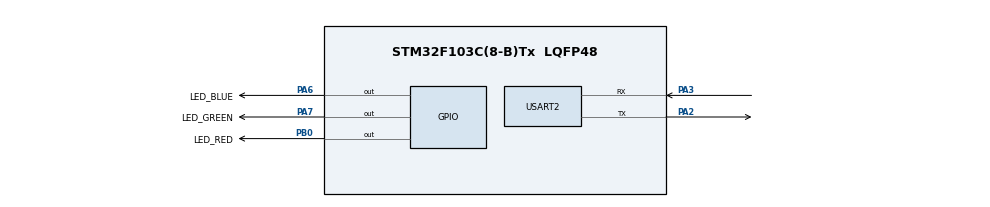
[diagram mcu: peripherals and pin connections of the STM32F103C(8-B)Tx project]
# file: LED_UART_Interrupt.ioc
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Dma.Request0=USART2_TX
Dma.Request1=USART2_RX
Dma.USART2_RX.1.Direction=DMA_PERIPH_TO_MEMORY
Dma.USART2_RX.1.Instance=DMA1_Channel6
Dma.USART2_RX.1.MemDataAlignment=DMA_MDATAALIGN_BYTE
Dma.USART2_RX.1.MemInc=DMA_MINC_ENABLE
Dma.USART2_RX.1.Mode=DMA_NORMAL
Dma.USART2_RX.1.PeriphDataAlignment=DMA_PDATAALIGN_BYTE
Dma.USART2_RX.1.PeriphInc=DMA_PINC_DISABLE
Dma.USART2_RX.1.Priority=DMA_PRIORITY_LOW
Dma.USART2_TX.0.Direction=DMA_MEMORY_TO_PERIPH
Dma.USART2_TX.0.Instance=DMA1_Channel7
Dma.USART2_TX.0.MemDataAlignment=DMA_MDATAALIGN_BYTE
Dma.USART2_TX.0.MemInc=DMA_MINC_ENABLE
Dma.USART2_TX.0.Mode=DMA_NORMAL
Dma.USART2_TX.0.PeriphDataAlignment=DMA_PDATAALIGN_BYTE
Dma.USART2_TX.0.PeriphInc=DMA_PINC_DISABLE
Dma.USART2_TX.0.Priority=DMA_PRIORITY_LOW
Mcu.Family=STM32F1
Mcu.Name=STM32F103C(8-B)Tx
Mcu.Package=LQFP48
NVIC.DMA1_Channel6_IRQn=true\:0\:0\:false\:false\:true\:false\:true\:true
NVIC.DMA1_Channel7_IRQn=true\:0\:0\:false\:false\:true\:false\:true\:true
NVIC.PriorityGroup=NVIC_PRIORITYGROUP_4
NVIC.USART2_IRQn=true\:0\:0\:false\:false\:true\:true\:true\:true
PA13.Mode=Serial_Wire
PA13.Signal=SYS_JTMS-SWDIO
PA14.Mode=Serial_Wire
PA14.Signal=SYS_JTCK-SWCLK
PA2.Mode=Asynchronous
PA2.Signal=USART2_TX
PA3.Mode=Asynchronous
PA3.Signal=USART2_RX
PA6.GPIO_Label=LED_BLUE
PA6.Signal=GPIO_Output
PA7.GPIO_Label=LED_GREEN
PA7.Signal=GPIO_Output
PB0.GPIO_Label=LED_RED
PB0.Signal=GPIO_Output
ProjectManager.HeapSize=0x200
ProjectManager.StackSize=0x400
ProjectManager.TargetToolchain=STM32CubeIDE
RCC.APB1Freq_Value=8000000
RCC.APB2Freq_Value=8000000
USART2.VirtualMode=VM_ASYNC
board=custom

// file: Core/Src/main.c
/* USER CODE BEGIN Header */
/**
  ******************************************************************************
  * @file           : main.c
  * @brief          : Main program body
  ******************************************************************************
  * @attention
  *
  * Copyright (c) 2025 STMicroelectronics.
  * All rights reserved.
  *
  * This software is licensed under terms that can be found in the LICENSE file
  * in the root directory of this software component.
  * If no LICENSE file comes with this software, it is provided AS-IS.
  *
  ******************************************************************************
  */
/* USER CODE END Header */
#include "main.h"

UART_HandleTypeDef huart2;
DMA_HandleTypeDef hdma_usart2_tx;
DMA_HandleTypeDef hdma_usart2_rx;

/* USER CODE BEGIN PV */
char receiveData[2];
GPIO_PinState LED_state=GPIO_PIN_RESET;
/* USER CODE END PV */

void SystemClock_Config(void);
static void MX_GPIO_Init(void);
static void MX_DMA_Init(void);
static void MX_USART2_UART_Init(void);
/* USER CODE BEGIN PFP */
void HAL_UART_RxCpltCallback(UART_HandleTypeDef *huart){

	switch (receiveData[1]) {
		case '0':
			LED_state=GPIO_PIN_RESET;
			break;
		case '1':
			LED_state=GPIO_PIN_SET;
			break;
		default:
			break;
	}
	switch (receiveData[0]) {
		case 'R':
			HAL_GPIO_WritePin(LED_RED_GPIO_Port, LED_RED_Pin, LED_state);
			break;
		case 'G':
			HAL_GPIO_WritePin(LED_GREEN_GPIO_Port, LED_GREEN_Pin, LED_state);
			break;
		case 'B':
			HAL_GPIO_WritePin(LED_BLUE_GPIO_Port, LED_BLUE_Pin, LED_state);
			break;
		default:
			break;
	}
	HAL_UART_Receive_IT(&huart2, receiveData, 1);//记得再回调函数里重新调用中断函数，不然执行一次中断函数就没了
}
/* USER CODE END PFP */

int main(void)
{

  /* MCU Configuration--------------------------------------------------------*/

  /* Reset of all peripherals, Initializes the Flash interface and the Systick. */
  HAL_Init();

  /* Configure the system clock */
  SystemClock_Config();

  /* Initialize all configured peripherals */
  MX_GPIO_Init();
  MX_DMA_Init();
  MX_USART2_UART_Init();
  /* USER CODE BEGIN 2 */
  HAL_UART_Receive_IT(&huart2, receiveData, 2);
  /* USER CODE END 2 */

  /* Infinite loop */
  while (1)
  {

  }
}

void SystemClock_Config(void)
{
  RCC_OscInitTypeDef RCC_OscInitStruct = {0};
  RCC_ClkInitTypeDef RCC_ClkInitStruct = {0};

  /** Initializes the RCC Oscillators according to the specified parameters
  * in the RCC_OscInitTypeDef structure.
  */
  RCC_OscInitStruct.OscillatorType = RCC_OSCILLATORTYPE_HSI;
  RCC_OscInitStruct.HSIState = RCC_HSI_ON;
  RCC_OscInitStruct.HSICalibrationValue = RCC_HSICALIBRATION_DEFAULT;
  RCC_OscInitStruct.PLL.PLLState = RCC_PLL_NONE;
  if (HAL_RCC_OscConfig(&RCC_OscInitStruct) != HAL_OK)
  {
    Error_Handler();
  }

  /** Initializes the CPU, AHB and APB buses clocks
  */
  RCC_ClkInitStruct.ClockType = RCC_CLOCKTYPE_HCLK|RCC_CLOCKTYPE_SYSCLK
                              |RCC_CLOCKTYPE_PCLK1|RCC_CLOCKTYPE_PCLK2;
  RCC_ClkInitStruct.SYSCLKSource = RCC_SYSCLKSOURCE_HSI;
  RCC_ClkInitStruct.AHBCLKDivider = RCC_SYSCLK_DIV1;
  RCC_ClkInitStruct.APB1CLKDivider = RCC_HCLK_DIV1;
  RCC_ClkInitStruct.APB2CLKDivider = RCC_HCLK_DIV1;

  if (HAL_RCC_ClockConfig(&RCC_ClkInitStruct, FLASH_LATENCY_0) != HAL_OK)
  {
    Error_Handler();
  }
}

static void MX_USART2_UART_Init(void)
{

  huart2.Instance = USART2;
  huart2.Init.BaudRate = 115200;
  huart2.Init.WordLength = UART_WORDLENGTH_8B;
  huart2.Init.StopBits = UART_STOPBITS_1;
  huart2.Init.Parity = UART_PARITY_NONE;
  huart2.Init.Mode = UART_MODE_TX_RX;
  huart2.Init.HwFlowCtl = UART_HWCONTROL_NONE;
  huart2.Init.OverSampling = UART_OVERSAMPLING_16;
  if (HAL_UART_Init(&huart2) != HAL_OK)
  {
    Error_Handler();
  }

}

static void MX_DMA_Init(void)
{

  /* DMA controller clock enable */
  __HAL_RCC_DMA1_CLK_ENABLE();

  /* DMA interrupt init */
  /* DMA1_Channel6_IRQn interrupt configuration */
  HAL_NVIC_SetPriority(DMA1_Channel6_IRQn, 0, 0);
  HAL_NVIC_EnableIRQ(DMA1_Channel6_IRQn);
  /* DMA1_Channel7_IRQn interrupt configuration */
  HAL_NVIC_SetPriority(DMA1_Channel7_IRQn, 0, 0);
  HAL_NVIC_EnableIRQ(DMA1_Channel7_IRQn);

}

static void MX_GPIO_Init(void)
{
  GPIO_InitTypeDef GPIO_InitStruct = {0};

  /* GPIO Ports Clock Enable */
  __HAL_RCC_GPIOA_CLK_ENABLE();
  __HAL_RCC_GPIOB_CLK_ENABLE();

  /*Configure GPIO pin Output Level */
  HAL_GPIO_WritePin(GPIOA, LED_BLUE_Pin|LED_GREEN_Pin, GPIO_PIN_RESET);

  /*Configure GPIO pin Output Level */
  HAL_GPIO_WritePin(LED_RED_GPIO_Port, LED_RED_Pin, GPIO_PIN_RESET);

  /*Configure GPIO pins : LED_BLUE_Pin LED_GREEN_Pin */
  GPIO_InitStruct.Pin = LED_BLUE_Pin|LED_GREEN_Pin;
  GPIO_InitStruct.Mode = GPIO_MODE_OUTPUT_PP;
  GPIO_InitStruct.Pull = GPIO_NOPULL;
  GPIO_InitStruct.Speed = GPIO_SPEED_FREQ_LOW;
  HAL_GPIO_Init(GPIOA, &GPIO_InitStruct);

  /*Configure GPIO pin : LED_RED_Pin */
  GPIO_InitStruct.Pin = LED_RED_Pin;
  GPIO_InitStruct.Mode = GPIO_MODE_OUTPUT_PP;
  GPIO_InitStruct.Pull = GPIO_NOPULL;
  GPIO_InitStruct.Speed = GPIO_SPEED_FREQ_LOW;
  HAL_GPIO_Init(LED_RED_GPIO_Port, &GPIO_InitStruct);

}

void Error_Handler(void)
{
  __disable_irq();
  while (1)
  {
  }
}
